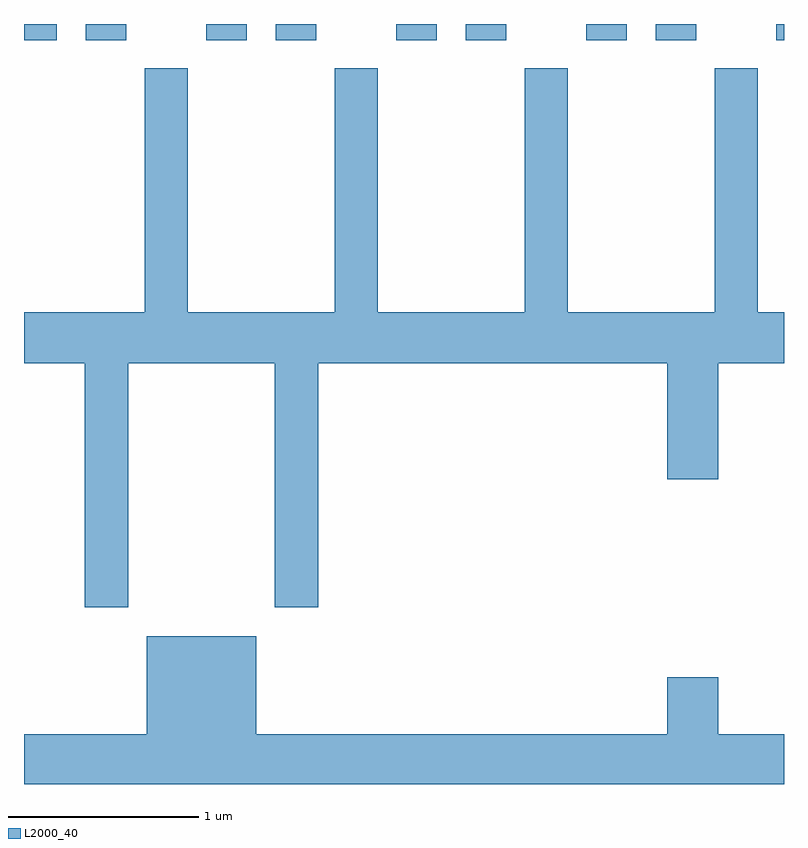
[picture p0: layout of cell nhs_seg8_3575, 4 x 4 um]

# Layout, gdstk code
import gdstk
lib = gdstk.Library(unit=1e-6, precision=1e-09)
def R(c, l, rs):  # rectangles x0, y0, x1, y1
    for r in rs: c.add(gdstk.rectangle(r[:2], r[2:], *l))
def P(c, l, *ps):  # polygons
    for p in ps: c.add(gdstk.Polygon(p, *l))
L2000_40 = (2000, 40)

nhs_seg8_3575 = lib.new_cell('nhs_seg8_3575')
R(nhs_seg8_3575, L2000_40, [(291.611,1920.256,291.784,1920.342), (291.936,1920.256,292.149,1920.342), (292.571,1920.256,292.784,1920.342), (292.936,1920.256,293.149,1920.342), (293.571,1920.256,293.784,1920.342), (293.936,1920.256,294.149,1920.342), (294.571,1920.256,294.784,1920.342), (294.936,1920.256,295.149,1920.342), (295.571,1920.256,295.611,1920.342)])
P(nhs_seg8_3575, L2000_40, [(292.159,1918.556),(292.931,1918.556),(292.931,1917.271),(293.159,1917.271),(293.159,1918.556),(294.996,1918.556),(294.996,1917.946),(295.264,1917.946),(295.264,1918.556),(295.611,1918.556),(295.611,1918.824),(295.474,1918.824),(295.474,1920.109),(295.246,1920.109),(295.246,1918.824),(294.474,1918.824),(294.474,1920.109),(294.246,1920.109),(294.246,1918.824),(293.474,1918.824),(293.474,1920.109),(293.246,1920.109),(293.246,1918.824),(292.474,1918.824),(292.474,1920.109),(292.246,1920.109),(292.246,1918.824),(291.611,1918.824),(291.611,1918.556),(291.931,1918.556),(291.931,1917.271),(292.159,1917.271)],
  [(295.611,1916.604),(295.264,1916.604),(295.264,1916.904),(294.996,1916.904),(294.996,1916.604),(292.834,1916.604),(292.834,1917.119),(292.256,1917.119),(292.256,1916.604),(291.611,1916.604),(291.611,1916.342),(295.611,1916.342)])

lib.write_gds('nhs_seg8_3575.gds')
